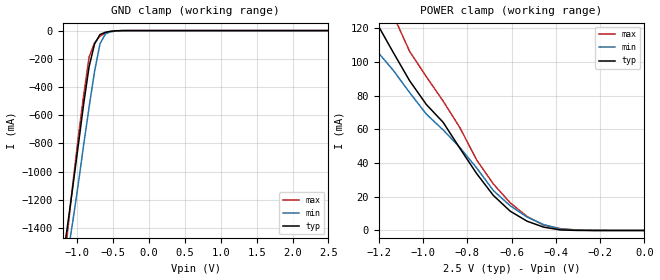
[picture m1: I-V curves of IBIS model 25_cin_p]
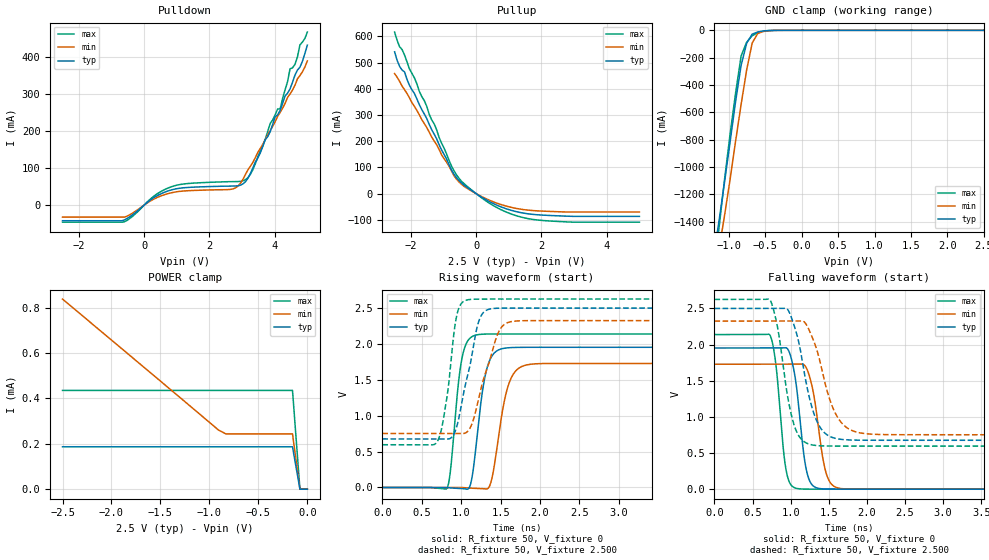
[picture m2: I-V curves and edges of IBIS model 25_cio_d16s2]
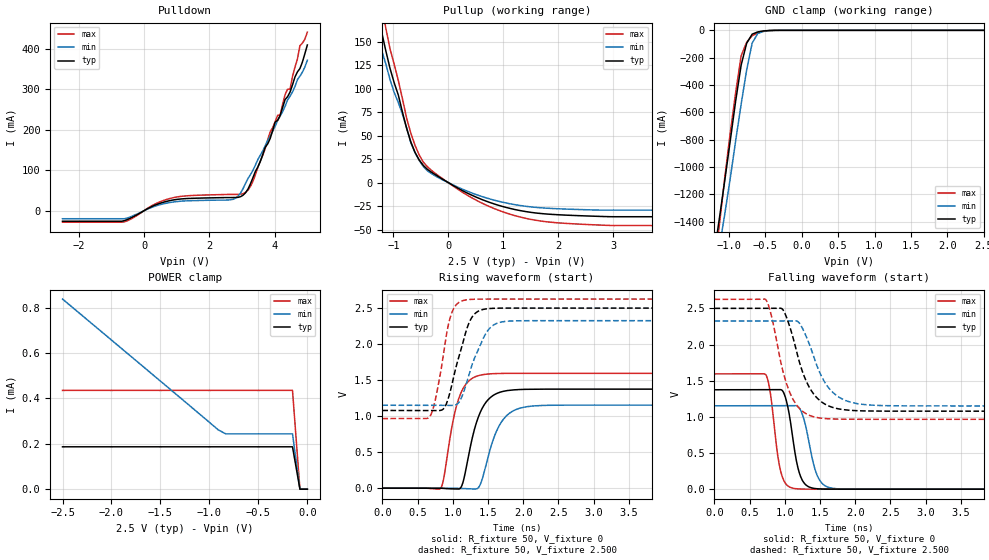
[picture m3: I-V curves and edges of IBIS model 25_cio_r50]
[IBIS Ver]   4.2
[File Name]  PulseController.ibs
[File Rev]   3.0
[Date]   March 20, 2026
[Source]   Altera Corporation
[Notes]   - The models are designated as "Final" and have been correlated against physical device operation.
   - This IBIS model is checked using IBISCHK v5.0.4
   There are no known errors and warnings reported.
   - There are no known limitations for this IBIS model release.
   - Contact point: Altera Corporation, http://www.altera.com/corporate/contact/con-index.html
   - This file is generated using Quartus II Version 22.1std.0 Build 915 10/25/2022 SC Lite Edition
   - Unused IOs which have been assigned as tri-stated inputs or as outputs driving any signal in Quartus II
   arerepresented by the NC.
   - Only general purpose IBIS models are supported.
   Revision History
   - v1.0
   - Initial release of MAX 10 IBIS models. Models are based on pre-layout and early engineering info.
   - v2.0
   - Models are based on post-layout, may be missing certain features.
   - v3.0
   - Models have undergone final correlation against physical device operation.
[Disclaimer] Data is for modeling purposes only and is not guaranteed.
[Copyright]  Copyright (C) 2022  Intel Corporation. All rights reserved.
[Component]  10M50DAF484C6GES_PulseController
[Manufacturer] Altera Corporation
[Package]
| RLC values are for 484 FBGA package
| variable  typ   min   max
R_pkg   346m   176m   739m
L_pkg   3.28nH   1.81nH   7.54nH
C_pkg   0.81pF   0.56pF   1.31pF
[Pin] signal_name   model_name   R_pin   L_pin   C_pin
A1   GND   GND
A10   led_arr[2]   25_cio_r50   618.8m   5.890nH   1.083pF
A12   led   25_cio_r50   548.0m   5.374nH   0.985pF
A22   GND   GND
A8   led_arr[0]   25_cio_r50   739.8m   7.540nH   1.314pF
A9   led_arr[1]   25_cio_r50   635.8m   6.193nH   1.167pF
AA18  GND   GND
AA4   GND   GND
AA7   reset_n   25_cin_p   617.8m   6.258nH   1.288pF
AB1   GND   GND
AB22  GND   GND
B10   led_arr[3]   25_cio_r50   432.0m   3.866nH   0.928pF
B13   GND   GND
B18   GND   GND
B6   GND   GND
B9   GND   GND
C13   led_arr[5]   25_cio_r50   376.7m   3.306nH   0.800pF
D11   GND   GND
D13   led_arr[4]   25_cio_r50   314.2m   2.794nH   0.627pF
D14   led_arr[7]   25_cio_r50   281.2m   2.837nH   0.717pF
D16   GND   GND
D20   GND   GND
D4   GND   GND
E14   led_arr[6]   25_cio_r50   236.6m   2.129nH   0.596pF
E2   GND   GND
E7   GND   GND
F10   GND   GND
F11   VCCIO8   POWER
F12   VCCIO7   POWER
F13   GND   GND
F14   VCCIO7   POWER
F9   VCCIO8   POWER
G10   VCCIO8   POWER
G11   VCCIO8   POWER
G12   VCCIO7   POWER
G13   VCCIO7   POWER
G14   VCCIO7   POWER
G15   GND   GND
G16   VCCD_PLL2   POWER
G18   GND   GND
G21   GND   GND
G6   GND   GND
G7   VCCD_PLL3   POWER
G8   GND   GND
H15   VCCA2   POWER
H16   VCCIO6   POWER
H7   VCCA_ADC   POWER
H8   VCCA3   POWER
J16   GND   GND
J17   VCCIO6   POWER
J19   GND   GND
J2   GND   GND
J6   GND   GND
J7   VCCINT   POWER
K10   GND   GND
K11   VCC   POWER
K12   GND   GND
K13   VCC   POWER
K16   VCCIO6   POWER
K17   VCCIO6   POWER
K3   GND   GND
K7   VCCIO1A   POWER
L10   VCC   POWER
L11   VCC   POWER
L12   VCC   POWER
L13   GND   GND
L16   VCCIO6   POWER
L17   GND   GND
L21   GND   GND
L5   GND   GND
L6   VCCIO1A   POWER
L7   VCCIO1B   POWER
M10   GND   GND
M11   VCC   POWER
M12   VCC   POWER
M13   VCC   POWER
M16   GND   GND
M17   VCCIO6   POWER
M19   GND   GND
M6   VCCIO1B   POWER
M7   GND   GND
N10   VCC   POWER
N11   GND   GND
N12   VCC   POWER
N13   GND   GND
N16   VCCIO5   POWER
N17   VCCIO6   POWER
N6   VCCIO2   POWER
N7   VCCIO2   POWER
P11   clk50   25_cin_p   176.5m   1.812nH   0.651pF
P16   VCCIO5   POWER
P17   GND   GND
P2   GND   GND
P6   GND   GND
P7   VCCIO2   POWER
R16   VCCIO5   POWER
R17   VCCIO5   POWER
R19   GND   GND
R21   GND   GND
R6   VCCIO2   POWER
R8   VCCA1   POWER
T10   VCCIO3   POWER
T11   VCCIO3   POWER
T12   VCCIO4   POWER
T13   VCCIO4   POWER
T14   GND   GND
T15   VCCA4   POWER
T16   GND   GND
T17   VCCIO5   POWER
T4   GND   GND
T7   VCCD_PLL1   POWER
T8   GND   GND
T9   VCCIO3   POWER
U10   GND   GND
U11   VCCIO4   POWER
U12   VCCIO4   POWER
U13   GND   GND
U14   VCCIO4   POWER
U16   VCCD_PLL4   POWER
U8   VCCIO3   POWER
U9   VCCIO3   POWER
V10   rb_clk   25_cin_p   197.8m   1.886nH   0.561pF
V19   GND   GND
V2   GND   GND
V5   clkled   25_cio_r50   498.6m   4.773nH   1.035pF
V6   GND   GND
V7   channel[2]   25_cio_d16s2   267.4m   2.521nH   0.710pF
V8   channel[0]   25_cio_d16s2   263.6m   2.592nH   0.697pF
V9   usb_rx   25_cin_p   221.7m   2.219nH   0.611pF
W10   trig   25_cin_p   354.4m   3.202nH   0.765pF
W21   GND   GND
W5   trigled   25_cio_r50   429.2m   3.908nH   1.008pF
W6   startled   25_cio_r50   412.0m   3.650nH   0.994pF
W7   channel[3]   25_cio_d16s2   338.9m   3.549nH   0.855pF
W8   channel[1]   25_cio_d16s2   318.2m   3.254nH   0.823pF
W9   usb_tx   25_cio_r50   333.4m   3.032nH   0.676pF
Y12   GND   GND
Y15   GND   GND
Y9   GND   GND
| Models and submodels in the file (3): 25_cin_p (Input), 25_cio_d16s2 (I/O), 25_cio_r50 (I/O)
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|MODEL 25_cin_p
[Model]   25_cin_p
Model_type   Input
Polarity   Non-Inverting
Vinl   = 0.700
Vinh   = 1.700
C_comp 4.5pF   4.5pF   4.5pF
[Model Spec]
Vinh   1.700   1.700   1.700
Vinl   0.700   0.700   0.700
[Temperature Range]   25   85   0
[Voltage Range]   2.500   2.325   2.625
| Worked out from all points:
|   GND clamp passes 1 mA (typ) near -0.44 V on its own axis
|   POWER clamp passes 1 mA (typ) near -0.41 V on its own axis
[GND Clamp]
| voltage   I (typ)   I (min)   I (max)
-2.5V     -5.91A     -5.705A    -6.902A
-1.212V   -1.665A    -1.836A    -1.786A
-1.136V   -1.393A    -1.602A    -1.443A
-1.061V   -1.109A    -1.354A    -1.09A
-984.9mV  -816.5mA   -1.091A    -759.1mA
-909.1mV  -519.5mA   -810.3mA   -457.9mA
-833.3mV  -255.4mA   -541.6mA   -186.8mA
-757.6mV  -94.85mA   -290.9mA   -87.18mA
-681.8mV  -28.16mA   -93.54mA   -39.36mA
-606.1mV  -11.9mA    -23.74mA   -18.07mA
-454.6mV  -1.272mA   -2.526mA   -2.74mA
2.5V      0A         0A         0A
[Power Clamp]
| voltage   I (typ)   I (min)   I (max)
-2.5V     371.2mA    310mA      435.7mA
-1.364V   145.2mA    129.8mA    171.7mA
-1.288V   131.7mA    117.1mA    159.8mA
-1.212V   123.9mA    107.1mA    146.3mA
-1.136V   106.1mA    95.41mA    128.4mA
-984.9mV  74.76mA    69.04mA    91.27mA
-909.1mV  64.21mA    59.71mA    76.83mA
-757.6mV  33.76mA    37.11mA    41.86mA
-681.8mV  20.76mA    23.65mA    27.52mA
-530.3mV  5.536mA    8.014mA    8.318mA
-378.8mV  308.8uA    899.8uA    1.08mA
0V        0A         0A         0A
|MODEL 25_cio_d16s2
[Model]   25_cio_d16s2
Model_type   I/O
Polarity   Non-Inverting
Enable Active-Low
Vinl   = 0.700
Vinh   = 1.700
Vmeas  = 1.250
Rref   = 10M
Cref   = 0pF
Vref   = 0.000
C_comp 4.5pF   4.5pF   4.5pF
[Model Spec]
Vinh   1.700   1.700   1.700
Vinl   0.700   0.700   0.700
[Temperature Range]   25   85   0
[Voltage Range]   2.500   2.325   2.625
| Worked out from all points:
|   slope of the pulldown table from 0 to 0.375 V, typ, clamps not added: 15.5 ohm
|   slope of the pullup table from 0 to 0.375 V, typ, clamps not added: 13.2 ohm
|   GND clamp passes 1 mA (typ) near -0.44 V on its own axis
|   rising waveform, R_fixture 50, V_fixture 0: 20-80 % time 136ps typ, 160ps min, 114ps max; typ from 0 V to 1.95 V
|   falling waveform, R_fixture 50, V_fixture 0: 20-80 % time 128ps typ, 148ps min, 110ps max; typ from 1.95 V to 0 V
|   rising waveform, R_fixture 50, V_fixture 2.500: 20-80 % time 198ps typ, 238ps min, 134ps max; typ from 0.676 V to 2.5 V
|   falling waveform, R_fixture 50, V_fixture 2.500: 20-80 % time 224ps typ, 262ps min, 183ps max; typ from 2.5 V to 0.676 V
[GND Clamp]
| voltage   I (typ)   I (min)   I (max)
-2.5V     -5.91A     -5.705A    -6.902A
-1.212V   -1.665A    -1.836A    -1.786A
-1.136V   -1.393A    -1.602A    -1.443A
-1.061V   -1.109A    -1.354A    -1.09A
-984.9mV  -816.5mA   -1.091A    -759.1mA
-909.1mV  -519.5mA   -810.3mA   -457.9mA
-833.3mV  -255.4mA   -541.6mA   -186.8mA
-757.6mV  -94.85mA   -290.9mA   -87.18mA
-681.8mV  -28.16mA   -93.54mA   -39.36mA
-606.1mV  -11.9mA    -23.74mA   -18.07mA
-454.6mV  -1.272mA   -2.526mA   -2.74mA
2.5V      0A         0A         0A
[Pulldown]
| voltage   I (typ)   I (min)   I (max)
-2.5V     -42.09mA   -32.27mA   -45.99mA
-606.1mV  -39.93mA   -32.27mA   -44.78mA
833.3mV   40.91mA    33.17mA    49.4mA
2.727V    51.45mA    43.84mA    63.25mA
3.106V    63.29mA    83.29mA    68.76mA
3.333V    100.6mA    115.5mA    95.92mA
3.864V    198.2mA    201.1mA    220.1mA
4.167V    255.4mA    249.9mA    259.2mA
4.47V     313mA      299.5mA    367.4mA
4.621V    350.3mA    323.2mA    379.3mA
4.773V    371.7mA    349.2mA    431.8mA
5V        431.2mA    388.6mA    466.3mA
[Power Clamp]
| voltage   I (typ)   I (min)   I (max)
-2.5V     186.7uA    837.7uA    435.2uA
-909.1mV  186.7uA    261.1uA    435.2uA
-833.3mV  186.7uA    243.7uA    435.2uA
-151.5mV  186.7uA    243.7uA    435.2uA
-75.76mV  0A         0A         0A
0V        0A         0A         0A
[Pullup]
| voltage   I (typ)   I (min)   I (max)
-2.5V     540.9mA    457.9mA    616.1mA
-2.349V   485.9mA    428.5mA    560.6mA
-2.197V   464.4mA    396.8mA    529.1mA
-2.046V   413.4mA    365.6mA    475.9mA
-1.591V   303.9mA    267.5mA    355mA
-757.6mV  90.73mA    86.77mA    105.4mA
-454.6mV  40.87mA    35.97mA    47.91mA
75.76mV   -6.28mA    -5.133mA   -7.463mA
833.3mV   -53.86mA   -44.37mA   -65.42mA
1.667V    -78.09mA   -63.73mA   -96.93mA
2.954V    -86.54mA   -69.9mA    -108.7mA
5V        -86.62mA   -69.9mA    -108.8mA
[Ramp]
dV/dt_r   1.172e+00/1.362e-10 1.037e+00/1.603e-10 1.284e+00/1.139e-10
dV/dt_f   1.094e+00/2.240e-10 9.432e-01/2.617e-10 1.218e+00/1.832e-10
R_load = 50ohms
[Rising Waveform]
R_fixture   = 50
V_fixture   = 0
V_fixture_min = 0
V_fixture_max = 0
| time   V (typ)   V (min)   V (max)
0s        33.4nV     827.7nV    49.73nV
820.2ps   -1.294mV   43.2uV     -10.12mV
1.003ns   -14.67mV   -698.3uV   1.761V
1.112ns   21.11mV    -8.987mV   2.08V
1.179ns   487.7mV    -11.98mV   2.121V
1.281ns   1.421V     -17.4mV    2.136V
1.369ns   1.79V      44.79mV    2.139V
1.586ns   1.946V     1.381V     2.139V
1.81ns    1.953V     1.702V     2.139V
6.772ns   1.953V     1.728V     2.139V
[Falling Waveform]
R_fixture   = 50
V_fixture   = 0
V_fixture_min = 0
V_fixture_max = 0
| time   V (typ)   V (min)   V (max)
0s        1.953V     1.728V     2.139V
730.9ps   1.953V     1.728V     2.125V
805.3ps   1.953V     1.728V     1.73V
933.9ps   1.956V     1.728V     300.5mV
1.069ns   1.472V     1.729V     12.85mV
1.171ns   492.5mV    1.725V     1.416mV
1.239ns   141.1mV    1.59V      364.8uV
1.455ns   2.058mV    260.6mV    7.401uV
1.618ns   124.8uV    17.52mV    298.4nV
6.761ns   613.5nV    614.6nV    725.7nV
[Rising Waveform]
R_fixture   = 50
V_fixture   = 2.500
V_fixture_min   = 2.325
V_fixture_max   = 2.625
| time   V (typ)   V (min)   V (max)
0s        676.4mV    752.9mV    595.6mV
698.2ps   676.4mV    752.9mV    643.2mV
820.2ps   674.7mV    752.8mV    1.264V
942.2ps   842.5mV    752.2mV    2.39V
1.071ns   1.514V     770.4mV    2.612V
1.152ns   1.953V     935.1mV    2.623V
1.261ns   2.407V     1.42V      2.625V
1.471ns   2.498V     2.157V     2.625V
1.62ns    2.5V       2.307V     2.625V
6.772ns   2.5V       2.325V     2.625V
[Falling Waveform]
R_fixture   = 50
V_fixture   = 2.500
V_fixture_min   = 2.325
V_fixture_max   = 2.625
| time   V (typ)   V (min)   V (max)
0s        2.5V       2.325V     2.625V
730.9ps   2.5V       2.325V     2.615V
832.4ps   2.5V       2.325V     2.214V
988.1ps   2.432V     2.325V     1.126V
1.096ns   2.077V     2.325V     756.1mV
1.252ns   1.237V     2.178V     619.6mV
1.387ns   853.9mV    1.754V     599.9mV
1.577ns   705.3mV    1.07V      596mV
1.888ns   677.9mV    783mV      595.6mV
6.761ns   676.4mV    752.9mV    595.6mV
|MODEL 25_cio_r50
[Model]   25_cio_r50
Model_type   I/O
Polarity   Non-Inverting
Enable Active-Low
Vinl   = 0.700
Vinh   = 1.700
Vmeas  = 1.250
Rref   = 10M
Cref   = 0pF
Vref   = 0.000
C_comp 4.5pF   4.5pF   4.5pF
[Model Spec]
Vinh   1.700   1.700   1.700
Vinl   0.700   0.700   0.700
[Temperature Range]   25   85   0
[Voltage Range]   2.500   2.325   2.625
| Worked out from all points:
|   slope of the pulldown table from 0 to 0.375 V, typ, clamps not added: 25.2 ohm
|   slope of the pullup table from 0 to 0.375 V, typ, clamps not added: 31.4 ohm
|   GND clamp passes 1 mA (typ) near -0.44 V on its own axis
|   rising waveform, R_fixture 50, V_fixture 0: 20-80 % time 223ps typ, 246ps min, 194ps max; typ from 0 V to 1.38 V
|   falling waveform, R_fixture 50, V_fixture 0: 20-80 % time 141ps typ, 160ps min, 123ps max; typ from 1.38 V to 0 V
|   rising waveform, R_fixture 50, V_fixture 2.500: 20-80 % time 231ps typ, 266ps min, 175ps max; typ from 1.08 V to 2.5 V
|   falling waveform, R_fixture 50, V_fixture 2.500: 20-80 % time 296ps typ, 322ps min, 254ps max; typ from 2.5 V to 1.08 V
[GND Clamp]
| voltage   I (typ)   I (min)   I (max)
-2.5V     -5.91A     -5.705A    -6.902A
-1.212V   -1.665A    -1.836A    -1.786A
-1.136V   -1.393A    -1.602A    -1.443A
-1.061V   -1.109A    -1.354A    -1.09A
-984.9mV  -816.5mA   -1.091A    -759.2mA
-909.1mV  -519.5mA   -810.3mA   -457.9mA
-833.3mV  -255.4mA   -541.6mA   -186.8mA
-757.6mV  -94.85mA   -290.9mA   -87.18mA
-681.8mV  -28.16mA   -93.54mA   -39.36mA
-606.1mV  -11.9mA    -23.74mA   -18.07mA
-454.6mV  -1.272mA   -2.526mA   -2.74mA
2.5V      0A         0A         0A
[Pulldown]
| voltage   I (typ)   I (min)   I (max)
-2.5V     -26.09mA   -19.98mA   -28.49mA
-606.1mV  -24.69mA   -19.98mA   -27.68mA
833.3mV   25.48mA    20.62mA    30.82mA
2.651V    32.22mA    26.74mA    39.97mA
3.106V    44mA       67.44mA    45.13mA
3.333V    81.31mA    99.49mA    72.37mA
3.864V    178.4mA    184.7mA    194.7mA
4.167V    235.3mA    233.2mA    235.4mA
4.318V    274mA      257.3mA    286.1mA
4.47V     292.5mA    282.4mA    299.5mA
4.773V    350.6mA    331.7mA    407mA
5V        408.8mA    371.1mA    440.5mA
[Power Clamp]
| voltage   I (typ)   I (min)   I (max)
-2.5V     186.7uA    837.7uA    435.2uA
-909.1mV  186.7uA    261.1uA    435.2uA
-833.3mV  186.7uA    243.7uA    435.2uA
-151.5mV  186.7uA    243.7uA    435.2uA
-75.76mV  0A         0A         0A
0V        0A         0A         0A
[Pullup]
| voltage   I (typ)   I (min)   I (max)
-2.5V     446.2mA    372.9mA    512.4mA
-1.364V   186.6mA    165.6mA    217.2mA
-1.212V   159.9mA    140.4mA    188.1mA
-1.136V   140mA      126.1mA    164.1mA
-757.6mV  57.61mA    57.94mA    68.31mA
-681.8mV  43.2mA     42.41mA    52.54mA
-530.3mV  24.21mA    23.52mA    29.45mA
-378.8mV  14mA       12.45mA    16.81mA
227.3mV   -7.602mA   -6.269mA   -9.137mA
984.9mV   -25.35mA   -20.81mA   -30.93mA
1.742V    -33.18mA   -27.03mA   -41.34mA
5V        -36.3mA    -29.27mA   -45.66mA
[Ramp]
dV/dt_r   8.248e-01/2.235e-10 6.918e-01/2.457e-10 9.566e-01/1.944e-10
dV/dt_f   8.530e-01/2.960e-10 7.045e-01/3.225e-10 9.953e-01/2.541e-10
R_load = 50ohms
[Rising Waveform]
R_fixture   = 50
V_fixture   = 0
V_fixture_min = 0
V_fixture_max = 0
| time   V (typ)   V (min)   V (max)
0s        48.43nV    1.175uV    73.35nV
829.8ps   -1.179mV   50.28uV    941.2uV
877.4ps   -4.267mV   83.75uV    169.1mV
1.013ns   -11.12mV   -647.5uV   983.2mV
1.122ns   22.18mV    -6.405mV   1.337V
1.292ns   760.9mV    -12.11mV   1.534V
1.388ns   1.048V     45.51mV    1.568V
1.66ns    1.328V     869mV      1.592V
2.007ns   1.371V     1.123V     1.594V
6.795ns   1.375V     1.153V     1.594V
[Falling Waveform]
R_fixture   = 50
V_fixture   = 0
V_fixture_min = 0
V_fixture_max = 0
| time   V (typ)   V (min)   V (max)
0s        1.375V     1.153V     1.594V
730.3ps   1.375V     1.153V     1.581V
791.1ps   1.375V     1.153V     1.35V
939.9ps   1.376V     1.153V     252.8mV
1.028ns   1.2V       1.153V     58.55mV
1.116ns   690.8mV    1.155V     13.24mV
1.271ns   88.6mV     968.5mV    985.7uV
1.454ns   6.076mV    205.5mV    45.51uV
1.657ns   316.5uV    16.38mV    1.628uV
6.755ns   -1.253uV   343.5nV    412.2nV
[Rising Waveform]
R_fixture   = 50
V_fixture   = 2.500
V_fixture_min   = 2.325
V_fixture_max   = 2.625
| time   V (typ)   V (min)   V (max)
0s        1.078V     1.151V     966mV
673.4ps   1.078V     1.151V     993.7mV
755ps     1.076V     1.151V     1.24V
863.8ps   1.098V     1.15V      1.836V
965.8ps   1.351V     1.148V     2.379V
1.156ns   2.068V     1.34V      2.607V
1.279ns   2.382V     1.73V      2.622V
1.462ns   2.487V     2.136V     2.625V
1.707ns   2.499V     2.31V      2.625V
6.795ns   2.5V       2.325V     2.625V
[Falling Waveform]
R_fixture   = 50
V_fixture   = 2.500
V_fixture_min   = 2.325
V_fixture_max   = 2.625
| time   V (typ)   V (min)   V (max)
0s        2.5V       2.325V     2.625V
730.3ps   2.5V       2.325V     2.62V
818.2ps   2.5V       2.325V     2.362V
960.2ps   2.495V     2.325V     1.683V
1.075ns   2.232V     2.325V     1.327V
1.224ns   1.704V     2.273V     1.1V
1.42ns    1.304V     1.806V     998.2mV
1.677ns   1.132V     1.343V     970.8mV
2.089ns   1.083V     1.174V     966.3mV
6.755ns   1.078V     1.151V     966mV
